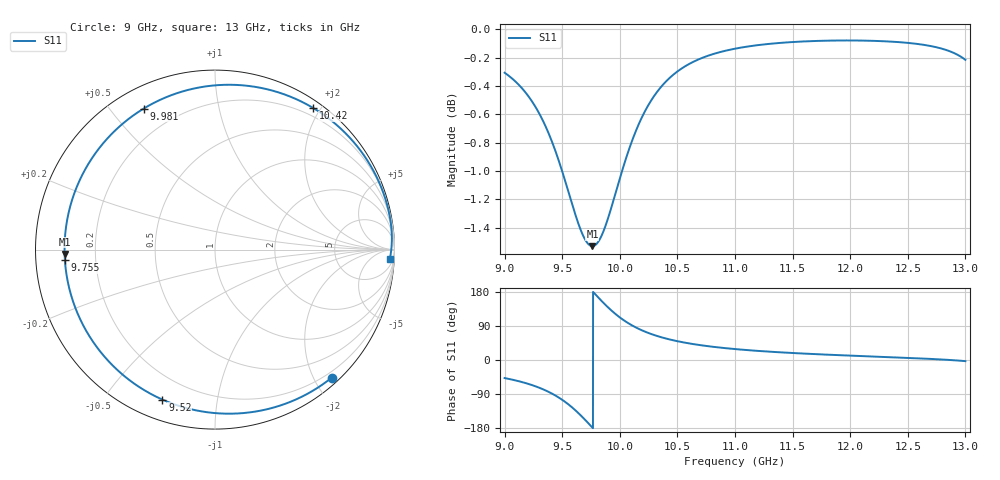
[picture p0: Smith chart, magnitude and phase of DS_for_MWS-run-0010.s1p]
! TOUCHSTONE file generated by CST DESIGN STUDIO
! Date and time: Tue Feb  4 14:12:00 2025
! Project name: C:\Work\MatlabApps\UnitCellOptimizationMatlab\CST\unitcell.cst
! Tree item: Tasks\Sweep1\SPara1\S-Parameters
! Header version: 2024
! Port assignment regex: !\s*Touchstone port\s*([0-9]+)\s*=\s*(CST MWS port|CST DES external port|CST DES block port)\s*(.+)\s* \(\"(.*)\"\)(\s*mode\s*([0-9]+))?.*
! Touchstone port assignment:
! Touchstone port 1 = CST DES external port 1 ("")
# GHz S MA R 50
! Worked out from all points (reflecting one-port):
!   4001 points, 9 GHz to 13 GHz, reference 50 ohm
!   lowest |S11| = -1.5 dB at 9.762 GHz (marker M1), VSWR 11.37, Z = 4.4 - j0.722 ohm
!   phase of S11 starts at -48 deg and turns -315 deg over the sweep
!   S11 on the Smith chart (normalised r, x): 9 GHz: 0.11, -2.26; 9.52 GHz: 0.09, -0.71; 9.755 GHz: 0.09, -0.03; 9.981 GHz: 0.09, +0.61; 10.42 GHz: 0.09, +1.91; 13 GHz: 15, -31
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9  0.9654 -47.6
9.141  0.9542 -57.4
9.27  0.9386 -69.6
9.401  0.915 -87.0
9.5  0.8909 -105.0
9.52  0.8856 -109.3
9.577  0.87 -122.8
9.632  0.8558 -137.7
9.697  0.8431 -157.3
9.755  0.8384 -176.0
9.762  0.8383 -178.3
9.808  0.8408 166.6
9.856  0.8481 151.4
9.919  0.8631 132.9
9.981  0.8804 116.9
10  0.8857 112.4
10.044  0.8978 102.9
10.091  0.9097 94.0
10.203  0.933 76.8
10.306  0.9483 65.1
10.42  0.9602 55.2
10.5  0.9664 49.6
10.717  0.9772 38.4
11  0.9844 28.8
11.5  0.9898 18.4
12  0.991 11.5
12.5  0.9891 5.6
13  0.9756 -3.0
